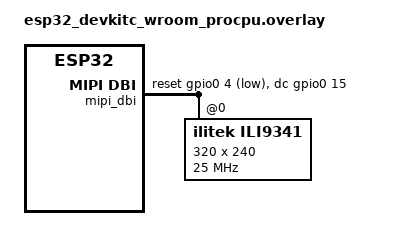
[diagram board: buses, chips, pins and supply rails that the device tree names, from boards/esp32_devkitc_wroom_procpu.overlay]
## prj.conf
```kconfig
CONFIG_LV_Z_MEM_POOL_SIZE=8192
CONFIG_MAIN_STACK_SIZE=2048

CONFIG_DISPLAY=y
CONFIG_LVGL=y

CONFIG_LOG=y
CONFIG_SHELL=y
```

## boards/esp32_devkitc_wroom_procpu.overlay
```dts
/ {
    chosen {
		zephyr,display = &ili9341;
    };

	mipi_dbi {
		compatible = "zephyr,mipi-dbi-spi";
		dc-gpios = <&gpio0 15 GPIO_ACTIVE_HIGH>;
		reset-gpios = <&gpio0 4 GPIO_ACTIVE_LOW>;
		spi-dev = <&spi3>; //VSPI
		write-only;
		#address-cells = <1>;
		#size-cells = <0>;

		ili9341: ili9341@0 {
			compatible = "ilitek,ili9341";
			mipi-max-frequency = <25000000>;
			reg = <0>;
			pixel-format = <0>;
			rotation = <270>;
			width = <320>;
			height = <240>;
		};
	};
};
```

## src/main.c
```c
/*
 * Copyright (c) 2018 Jan Van Winkel <jan.van_winkel@dxplore.eu>
 *
 * SPDX-License-Identifier: Apache-2.0
 */

#include <zephyr/logging/log.h>
LOG_MODULE_REGISTER(app, LOG_LEVEL_DBG);

#include <zephyr/kernel.h>
#include <zephyr/device.h>
#include <zephyr/devicetree.h>
#include <zephyr/drivers/display.h>

#include <stdio.h>
#include <string.h>

#include <lvgl.h>

int main(void)
{
	uint32_t count = 0;
	char count_str[11] = {0};
	const struct device *display_dev;
	lv_obj_t *hello_world_label;
	lv_obj_t *count_label;

	display_dev = DEVICE_DT_GET(DT_CHOSEN(zephyr_display));
	if (!device_is_ready(display_dev)) {
		LOG_ERR("Device not ready, aborting test");
		return 0;
	}

	hello_world_label = lv_label_create(lv_scr_act());

	lv_label_set_text(hello_world_label, "Hello world!");
	lv_obj_align(hello_world_label, LV_ALIGN_CENTER, 0, 0);

	count_label = lv_label_create(lv_scr_act());
	lv_obj_align(count_label, LV_ALIGN_BOTTOM_MID, 0, 0);

	lv_task_handler();
	display_blanking_off(display_dev);

	while (1) {
		if ((count % 100) == 0U) {
			sprintf(count_str, "%d", count/100U);
			lv_label_set_text(count_label, count_str);
		}
		lv_task_handler();
		++count;
		k_sleep(K_MSEC(10));
		LOG_DBG("While 1");
	}
}
```
